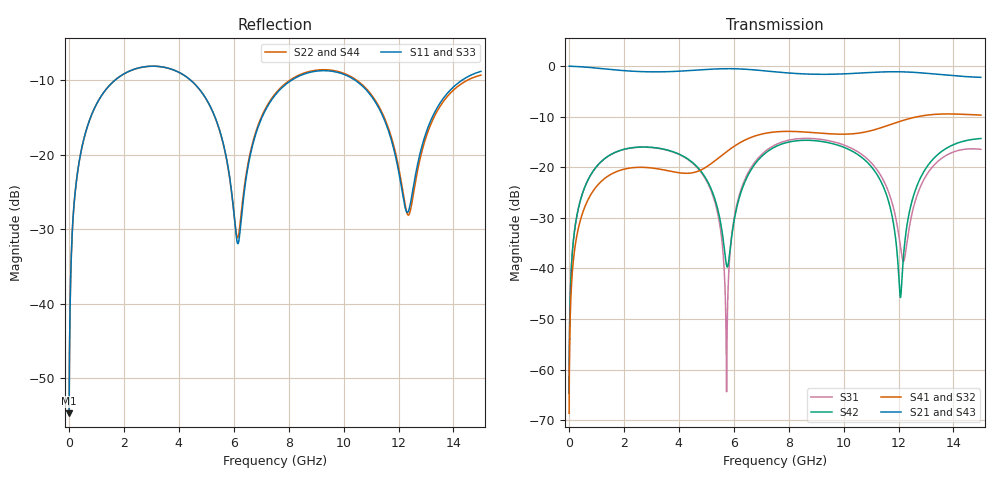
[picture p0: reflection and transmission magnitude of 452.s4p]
! Created with skrf 1.8.0 (http://scikit-rf.org).
# GHz S RI R 50.0
!freq ReS11 ImS11 ReS12 ImS12 ReS13 ImS13
! ReS14 ImS14
! ReS21 ImS21 ReS22 ImS22 ReS23 ImS23
! ReS24 ImS24
! ReS31 ImS31 ReS32 ImS32 ReS33 ImS33
! ReS34 ImS34
! ReS41 ImS41 ReS42 ImS42 ReS43 ImS43
! ReS44 ImS44
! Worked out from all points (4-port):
!   2499 points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, 5 MHz to 15 GHz, reference 50 ohm
!   strongest paths, dB at 5 MHz, 3.476 GHz, 7.19 GHz, 11.1 GHz, 15 GHz:
!     S21: 0.0, -1.1, -1.0, -1.2, -2.2
!     S43: 0.0, -1.1, -1.0, -1.2, -2.2
!     S41: -68.6, -20.5, -13.2, -12.6, -9.7
!     S32: -68.6, -20.6, -13.3, -12.7, -9.7
!     S42: -64.7, -16.4, -17.0, -20.5, -14.3
!     S31: -64.7, -16.5, -16.7, -19.7, -16.5
!   lowest |S11| = -54.7 dB at 5 MHz (marker M1), VSWR 1.00, Z = 50.1 + j0.111 ohm
!   |S11| at or under -10 dB: start of sweep to 1.673 GHz; 4.433 GHz to 8.104 GHz (3.671 GHz wide, 58.6 % of centre); 10.42 GHz to 14.31 GHz (3.892 GHz wide, 31.5 % of centre)
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0.005  0.00146 0.00111  0.9985 -0.00284  7.28e-05 0.00058  -7.08e-05 -0.000363
       0.9985 -0.00284  0.00146 0.00111  -7.08e-05 -0.000363  7.29e-05 0.00058
       7.28e-05 0.00058  -7.08e-05 -0.000363  0.00146 0.00111  0.9985 -0.00284
       -7.08e-05 -0.000363  7.29e-05 0.00058  0.9985 -0.00284  0.00146 0.00111
1.619545  0.2478 0.1861  0.5963 -0.7011  0.1197 0.0682  -0.0868 -0.0137
          0.5963 -0.7011  0.2477 0.1862  -0.0866 -0.0138  0.1204 0.0673
          0.1197 0.0682  -0.0866 -0.0138  0.2479 0.1861  0.5964 -0.7011
          -0.0868 -0.0137  0.1204 0.0673  0.5964 -0.7011  0.2476 0.1862
4.845769  0.1829 -0.1858  -0.6626 -0.6395  0.0484 -0.0716  -0.0437 0.0846
          -0.6626 -0.6395  0.1835 -0.1844  -0.045 0.0833  0.0423 -0.0777
          0.0484 -0.0716  -0.045 0.0833  0.1821 -0.186  -0.6628 -0.6396
          -0.0437 0.0846  0.0423 -0.0777  -0.6628 -0.6396  0.1834 -0.1833
5.739892  0.042 -0.0838  -0.9034 -0.2703  0.000584 0.000154  -0.0351 0.1383
          -0.9034 -0.2703  0.0436 -0.0816  -0.0378 0.1376  -0.0102 -0.00338
          0.000584 0.000154  -0.0378 0.1376  0.041 -0.0831  -0.9035 -0.2702
          -0.0351 0.1383  -0.0102 -0.00338  -0.9035 -0.2702  0.0441 -0.0804
7.315548  0.1556 0.1611  -0.758 0.4617  0.1308 0.0837  0.1483 0.1632
          -0.758 0.4617  0.1619 0.162  0.145 0.1654  0.1183 0.0902
          0.1308 0.0837  0.145 0.1654  0.1565 0.1628  -0.7577 0.4616
          0.1483 0.1632  0.1183 0.0902  -0.7577 0.4616  0.1625 0.1624
12.07378  0.0479 -0.0447  0.8408 0.2553  -0.0144 -0.00727  0.0694 -0.2769
          0.8408 0.2553  0.0463 -0.0526  0.0801 -0.2739  0.00498 -0.00137
          -0.0144 -0.00727  0.0801 -0.2739  0.047 -0.0461  0.8402 0.2568
          0.0694 -0.2769  0.00498 -0.00137  0.8402 0.2568  0.0481 -0.0531
15  0.3497 0.0952  0.3071 -0.7107  0.134 -0.0683  -0.3197 -0.0738
    0.3071 -0.7107  0.3321 0.0815  -0.3138 -0.0876  0.1501 -0.1204
    0.134 -0.0683  -0.3138 -0.0876  0.3551 0.0935  0.3083 -0.709
    -0.3197 -0.0738  0.1501 -0.1204  0.3083 -0.709  0.3313 0.0872
